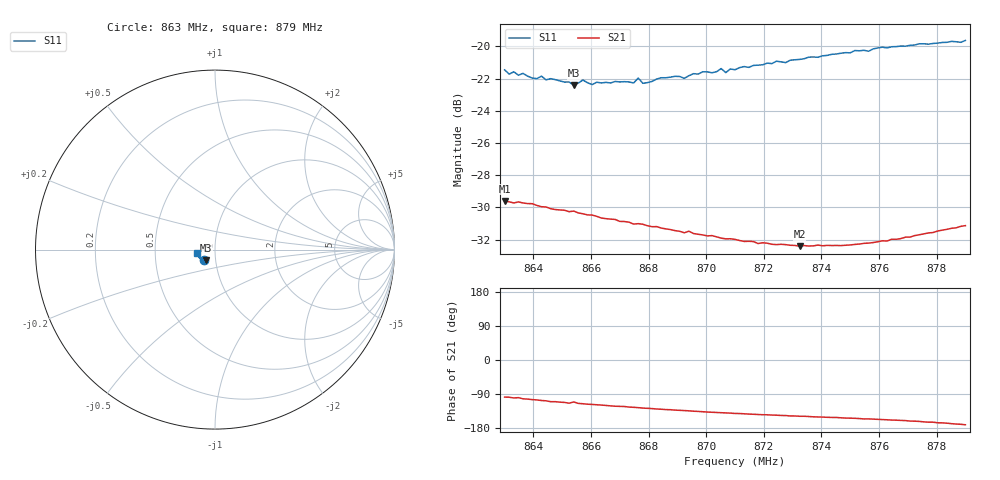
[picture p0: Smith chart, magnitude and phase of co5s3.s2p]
# HZ S RI R 50
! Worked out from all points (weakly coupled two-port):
!   101 points, 863 MHz to 879 MHz, reference 50 ohm
!   highest |S21| = -29.61 dB at 863 MHz (marker M1); lowest = -32.4 dB at 873.24 MHz (marker M2)
!   lowest |S11| = -22.4 dB at 865.4 MHz (marker M3), VSWR 1.16, Z = 45 - j5.19 ohm
!   |S11| at or under -10 dB: start of sweep to end of sweep
!   S12 and S22 are empty: the file has one direction only
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8.63e8  -0.0608 -0.0587  -0.00456 -0.0328  0 0  0 0
8.6316e8  -0.0566 -0.0593  -0.00473 -0.0326  0 0  0 0
8.6332e8  -0.0581 -0.0598  -0.00581 -0.0321  0 0  0 0
8.6412e8  -0.0558 -0.0565  -0.00852 -0.0309  0 0  0 0
8.6428e8  -0.0562 -0.0581  -0.00923 -0.0304  0 0  0 0
8.6444e8  -0.0555 -0.0558  -0.00966 -0.0302  0 0  0 0
8.6524e8  -0.0543 -0.0553  -0.0125 -0.028  0 0  0 0
8.654e8  -0.0495 -0.0573  -0.0109 -0.0288  0 0  0 0
8.6572e8  -0.054 -0.0571  -0.013 -0.0273  0 0  0 0
8.6604e8  -0.0524 -0.0551  -0.0137 -0.0266  0 0  0 0
8.6748e8  -0.0519 -0.0568  -0.016 -0.023  0 0  0 0
8.6764e8  -0.0545 -0.0581  -0.0164 -0.0229  0 0  0 0
8.678e8  -0.0526 -0.0559  -0.0168 -0.0224  0 0  0 0
8.6844e8  -0.0552 -0.0578  -0.0175 -0.0209  0 0  0 0
8.6924e8  -0.0555 -0.057  -0.0181 -0.0192  0 0  0 0
8.7052e8  -0.061 -0.0596  -0.0192 -0.0166  0 0  0 0
8.7068e8  -0.06 -0.0571  -0.0193 -0.0164  0 0  0 0
8.71e8  -0.0616 -0.058  -0.0196 -0.0158  0 0  0 0
8.7324e8  -0.0726 -0.055  -0.0204 -0.0125  0 0  0 0
8.7372e8  -0.075 -0.0544  -0.0208 -0.012  0 0  0 0
8.7644e8  -0.0908 -0.0411  -0.0234 -0.00922  0 0  0 0
8.79e8  -0.1023 -0.0204  -0.0274 -0.0044  0 0  0 0
